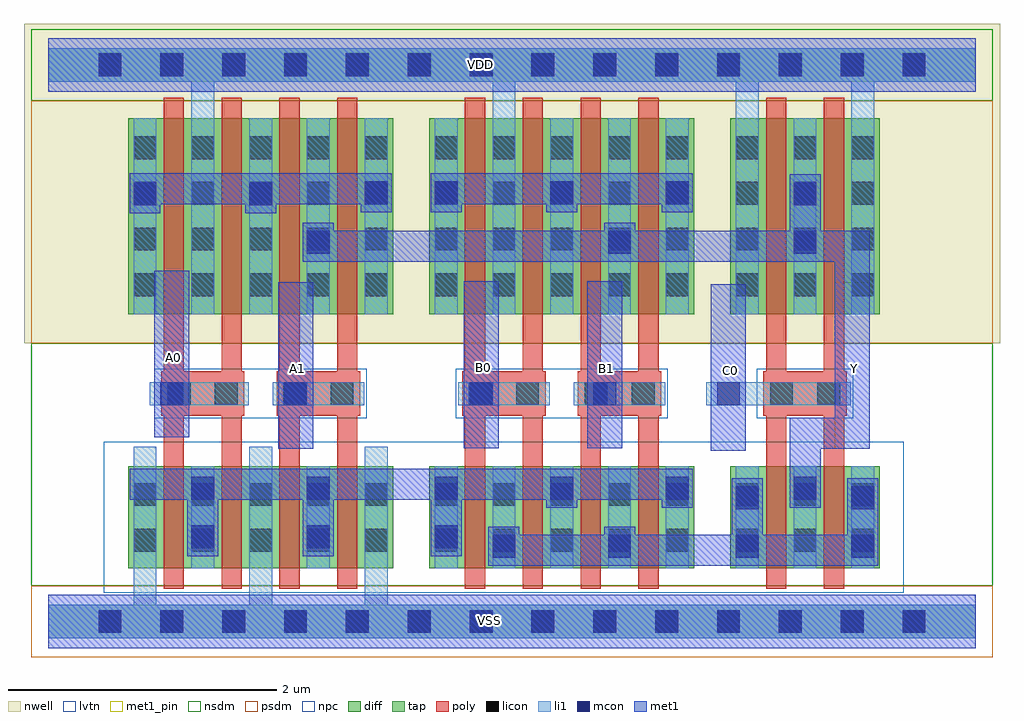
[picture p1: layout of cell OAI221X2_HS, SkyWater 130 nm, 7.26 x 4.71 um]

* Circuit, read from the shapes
.subckt OAI221X2_HS A0 A1 B0 B1 C0 VDD VSS Y
XM1 n1 A0 VSS VSS sky130_fd_pr__nfet_01v8_lvt w=0.76 l=0.15 m=2
XM2 n1 A1 VSS VSS sky130_fd_pr__nfet_01v8_lvt w=0.76 l=0.15 m=2
XM3 n2 B0 n1 VSS sky130_fd_pr__nfet_01v8_lvt w=0.76 l=0.15 m=2
XM4 n2 B1 n1 VSS sky130_fd_pr__nfet_01v8_lvt w=0.76 l=0.15 m=2
XM5 Y C0 n2 VSS sky130_fd_pr__nfet_01v8_lvt w=0.76 l=0.15 m=2
XM6 VDD A0 n3 VDD sky130_fd_pr__pfet_01v8 w=1.46 l=0.15 m=2
XM7 Y A1 n3 VDD sky130_fd_pr__pfet_01v8 w=1.46 l=0.15 m=2
XM8 VDD B0 n4 VDD sky130_fd_pr__pfet_01v8 w=1.46 l=0.15 m=2
XM9 Y B1 n4 VDD sky130_fd_pr__pfet_01v8 w=1.46 l=0.15 m=2
XM10 Y C0 VDD VDD sky130_fd_pr__pfet_01v8 w=1.46 l=0.15 m=2
.ends

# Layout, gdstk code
from math import pi, radians
import gdstk
lib = gdstk.Library(unit=1e-6, precision=1e-09)
def R(c, l, rs):  # rectangles x0, y0, x1, y1
    for r in rs: c.add(gdstk.rectangle(r[:2], r[2:], *l))
def A(c, l, x, y, w, h, nx, ny, dx, dy):  # array of equal rectangles
    R(c, l, [(x+i*dx, y+j*dy, x+i*dx+w, y+j*dy+h) for i in range(nx) for j in range(ny)])
def P(c, l, *ps):  # polygons
    for p in ps: c.add(gdstk.Polygon(p, *l))
nwell = (64, 20)
diff = (65, 20)
tap = (65, 44)
poly = (66, 20)
licon = (66, 44)
li1 = (67, 20)
mcon = (67, 44)
met1_pin = (68, 16)
met1 = (68, 20)
nsdm = (93, 44)
psdm = (94, 20)
npc = (95, 20)
lvtn = (125, 44)

l1m1_c_cdns_752016586812 = lib.new_cell('L1M1_C_CDNS_752016586812')
R(l1m1_c_cdns_752016586812, li1, [(-0.085,-0.165,0.085,0.165)])
R(l1m1_c_cdns_752016586812, mcon, [(-0.085,-0.085,0.085,0.085)])
R(l1m1_c_cdns_752016586812, met1, [(-0.115,-0.145,0.115,0.145)])

pyl1con_c_cdns_752016586 = lib.new_cell('PYL1CON_C_CDNS_752016586813')
R(pyl1con_c_cdns_752016586, poly, [(-0.135,-0.165,0.135,0.165)])
R(pyl1con_c_cdns_752016586, licon, [(-0.085,-0.085,0.085,0.085)])
R(pyl1con_c_cdns_752016586, npc, [(-0.185,-0.185,0.185,0.185)])

l1m1_c_cdns_752016586811 = lib.new_cell('L1M1_C_CDNS_752016586811')
R(l1m1_c_cdns_752016586811, li1, [(-0.165,-0.085,0.165,0.085)])
R(l1m1_c_cdns_752016586811, mcon, [(-0.085,-0.085,0.085,0.085)])
R(l1m1_c_cdns_752016586811, met1, [(-0.115,-0.145,0.115,0.145)])

l1m1_c_cdns_752016586816 = lib.new_cell('L1M1_C_CDNS_752016586816')
R(l1m1_c_cdns_752016586816, li1, [(-0.085,-0.345,0.085,0.345)])
R(l1m1_c_cdns_752016586816, mcon, [(-0.085,-0.265,0.085,-0.095), (-0.085,0.095,0.085,0.265)])
R(l1m1_c_cdns_752016586816, met1, [(-0.115,-0.325,0.115,0.325)])

oai221x2_hs = lib.new_cell('OAI221X2_HS')
R(oai221x2_hs, nwell, [(-0.18,2.07,7.08,4.445)])
R(oai221x2_hs, diff, [(0.595,0.395,2.565,1.155), (2.835,0.395,4.805,1.155), (5.075,0.395,6.185,1.155), (0.595,2.285,2.565,3.745), (2.835,2.285,4.805,3.745), (5.075,2.285,6.185,3.745)])
P(oai221x2_hs, poly, [(1.46,1.86),(1.44,1.86),(1.44,3.895),(1.29,3.895),(1.29,1.86),(1.01,1.86),(1.01,3.895),(0.86,3.895),(0.86,1.86),(0.84,1.86),(0.84,1.53),(0.86,1.53),(0.86,0.245),(1.01,0.245),(1.01,1.53),(1.29,1.53),(1.29,0.245),(1.44,0.245),(1.44,1.53),(1.46,1.53)],
  [(2.32,1.86),(2.3,1.86),(2.3,3.895),(2.15,3.895),(2.15,1.86),(1.87,1.86),(1.87,3.895),(1.72,3.895),(1.72,1.86),(1.7,1.86),(1.7,1.53),(1.72,1.53),(1.72,0.245),(1.87,0.245),(1.87,1.53),(2.15,1.53),(2.15,0.245),(2.3,0.245),(2.3,1.53),(2.32,1.53)],
  [(3.7,1.86),(3.68,1.86),(3.68,3.895),(3.53,3.895),(3.53,1.86),(3.25,1.86),(3.25,3.895),(3.1,3.895),(3.1,1.86),(3.08,1.86),(3.08,1.53),(3.1,1.53),(3.1,0.245),(3.25,0.245),(3.25,1.53),(3.53,1.53),(3.53,0.245),(3.68,0.245),(3.68,1.53),(3.7,1.53)],
  [(4.56,1.86),(4.54,1.86),(4.54,3.895),(4.39,3.895),(4.39,1.86),(4.11,1.86),(4.11,3.895),(3.96,3.895),(3.96,1.86),(3.94,1.86),(3.94,1.53),(3.96,1.53),(3.96,0.245),(4.11,0.245),(4.11,1.53),(4.39,1.53),(4.39,0.245),(4.54,0.245),(4.54,1.53),(4.56,1.53)],
  [(5.94,1.86),(5.92,1.86),(5.92,3.895),(5.77,3.895),(5.77,1.86),(5.49,1.86),(5.49,3.895),(5.34,3.895),(5.34,1.86),(5.32,1.86),(5.32,1.53),(5.34,1.53),(5.34,0.245),(5.49,0.245),(5.49,1.53),(5.77,1.53),(5.77,0.245),(5.92,0.245),(5.92,1.53),(5.94,1.53)])
A(oai221x2_hs, licon, 0.375, -0.085, 0.17, 0.17, 14, 2, 0.46, 4.14)
A(oai221x2_hs, licon, 0.635, 0.52, 0.17, 0.17, 5, 2, 0.43, 0.34)
A(oai221x2_hs, licon, 2.875, 0.52, 0.17, 0.17, 5, 2, 0.43, 0.34)
A(oai221x2_hs, licon, 5.115, 0.52, 0.17, 0.17, 3, 2, 0.43, 0.34)
A(oai221x2_hs, licon, 0.635, 2.42, 0.17, 0.17, 5, 4, 0.43, 0.34)
A(oai221x2_hs, licon, 2.875, 2.42, 0.17, 0.17, 5, 4, 0.43, 0.34)
A(oai221x2_hs, licon, 5.115, 2.42, 0.17, 0.17, 3, 4, 0.43, 0.34)
A(oai221x2_hs, li1, 2.875, 0.395, 0.17, 0.76, 5, 1, 0.43, 0)
A(oai221x2_hs, li1, 5.115, 0.395, 0.17, 0.76, 3, 1, 0.43, 0)
A(oai221x2_hs, li1, 1.495, 2.285, 0.17, 1.46, 3, 1, 0.43, 0)
A(oai221x2_hs, li1, 3.735, 2.285, 0.17, 1.46, 3, 1, 0.43, 0)
R(oai221x2_hs, li1, [(1.065,0.395,1.235,1.155), (1.925,0.395,2.095,1.155), (0.635,2.285,0.805,3.745), (2.875,2.285,3.045,3.745), (5.545,2.285,5.715,3.745)])
P(oai221x2_hs, li1, [(6.9,4.265),(0,4.265),(0,4.015),(1.065,4.015),(1.065,2.285),(1.235,2.285),(1.235,4.015),(3.305,4.015),(3.305,2.285),(3.475,2.285),(3.475,4.015),(5.115,4.015),(5.115,2.285),(5.285,2.285),(5.285,4.015),(5.975,4.015),(5.975,2.285),(6.145,2.285),(6.145,4.015),(6.9,4.015)],
  [(6.9,0.125),(2.525,0.125),(2.525,1.3),(2.355,1.3),(2.355,0.125),(1.665,0.125),(1.665,1.3),(1.495,1.3),(1.495,0.125),(0.805,0.125),(0.805,1.3),(0.635,1.3),(0.635,0.125),(0,0.125),(0,-0.125),(6.9,-0.125)])
A(oai221x2_hs, mcon, 0.375, -0.085, 0.17, 0.17, 14, 2, 0.46, 4.14)
R(oai221x2_hs, met1_pin, [(4.93,1.27,5.19,2.51), (1.71,1.285,1.97,2.525), (5.85,1.285,6.11,2.525), (3.09,1.29,3.35,2.53), (4.01,1.29,4.27,2.53), (0.79,1.37,1.05,2.61)])
P(oai221x2_hs, met1, [(6.11,2.905),(5.745,2.905),(5.745,3),(5.515,3),(5.515,2.905),(1.895,2.905),(1.895,2.675),(5.85,2.675),(5.85,1.515),(5.515,1.515),(5.515,0.97),(5.745,0.97),(5.745,1.285),(6.11,1.285)])
R(oai221x2_hs, nsdm, [(-0.125,0.265,7.025,2.07), (-0.125,3.875,7.025,4.405)])
R(oai221x2_hs, psdm, [(-0.125,-0.265,7.025,0.265), (-0.125,2.07,7.025,3.875)])
R(oai221x2_hs, npc, [(0.79,1.51,2.37,1.88), (3.03,1.51,4.61,1.88)])
R(oai221x2_hs, lvtn, [(0.415,0.215,6.365,1.335)])
oai221x2_hs.add(gdstk.FlexPath([(3.91,1.695),(4.59,1.695)], 0.17, ends="flush", simple_path=True, layer=67, datatype=20))  # li1
oai221x2_hs.add(gdstk.FlexPath([(1.67,1.695),(2.35,1.695)], 0.17, ends="flush", simple_path=True, layer=67, datatype=20))  # li1
oai221x2_hs.add(gdstk.FlexPath([(0.81,1.695),(1.49,1.695)], 0.17, ends="flush", simple_path=True, layer=67, datatype=20))  # li1
oai221x2_hs.add(gdstk.FlexPath([(5.035,1.695),(5.97,1.695)], 0.17, ends="flush", simple_path=True, layer=67, datatype=20))  # li1
oai221x2_hs.add(gdstk.FlexPath([(3.05,1.695),(3.73,1.695)], 0.17, ends="flush", simple_path=True, layer=67, datatype=20))  # li1
oai221x2_hs.add(gdstk.FlexPath([(0,4.14),(6.9,4.14)], 0.4, ends="flush", simple_path=True, layer=68, datatype=20))  # met1
oai221x2_hs.add(gdstk.FlexPath([(0,0),(6.9,0)], 0.4, ends="flush", simple_path=True, layer=68, datatype=20))  # met1
oai221x2_hs.add(gdstk.FlexPath([(1.84,1.285),(1.84,2.525)], 0.26, ends="flush", simple_path=True, layer=68, datatype=20))  # met1
oai221x2_hs.add(gdstk.FlexPath([(3.22,1.29),(3.22,2.53)], 0.26, ends="flush", simple_path=True, layer=68, datatype=20))  # met1
oai221x2_hs.add(gdstk.FlexPath([(4.14,1.29),(4.14,2.53)], 0.26, ends="flush", simple_path=True, layer=68, datatype=20))  # met1
oai221x2_hs.add(gdstk.FlexPath([(5.06,1.27),(5.06,2.51)], 0.26, ends="flush", simple_path=True, layer=68, datatype=20))  # met1
oai221x2_hs.add(gdstk.FlexPath([(0.92,1.37),(0.92,2.61)], 0.26, ends="flush", simple_path=True, layer=68, datatype=20))  # met1
oai221x2_hs.add(gdstk.FlexPath([(0.605,1.02),(4.795,1.02)], 0.23, ends="flush", simple_path=True, layer=68, datatype=20))  # met1
oai221x2_hs.add(gdstk.FlexPath([(0.605,3.22),(2.555,3.22)], 0.23, ends="flush", simple_path=True, layer=68, datatype=20))  # met1
oai221x2_hs.add(gdstk.FlexPath([(6.175,0.53),(3.275,0.53)], 0.23, ends="flush", simple_path=True, layer=68, datatype=20))  # met1
oai221x2_hs.add(gdstk.FlexPath([(2.845,3.22),(4.795,3.22)], 0.23, ends="flush", simple_path=True, layer=68, datatype=20))  # met1
oai221x2_hs.add(gdstk.FlexPath([(0,4.14),(6.9,4.14)], 0.25, ends="flush", simple_path=True, layer=65, datatype=44))  # tap
oai221x2_hs.add(gdstk.FlexPath([(0,0),(6.9,0)], 0.25, ends="flush", simple_path=True, layer=65, datatype=44))  # tap
oai221x2_hs.add(gdstk.FlexPath([(0,4.14),(6.9,4.14)], 0.4, ends="flush", simple_path=True, layer=68, datatype=16))  # met1_pin
oai221x2_hs.add(gdstk.FlexPath([(0,0),(6.9,0)], 0.4, ends="flush", simple_path=True, layer=68, datatype=16))  # met1_pin
oai221x2_hs.add(gdstk.Reference(l1m1_c_cdns_752016586812, (4.25,2.82)))
oai221x2_hs.add(gdstk.Reference(l1m1_c_cdns_752016586812, (1.58,3.18)))
oai221x2_hs.add(gdstk.Reference(l1m1_c_cdns_752016586812, (0.72,3.18)))
oai221x2_hs.add(gdstk.Reference(l1m1_c_cdns_752016586812, (4.68,3.19)))
oai221x2_hs.add(gdstk.Reference(l1m1_c_cdns_752016586812, (3.82,3.19)))
oai221x2_hs.add(gdstk.Reference(l1m1_c_cdns_752016586812, (2.96,3.19)))
oai221x2_hs.add(gdstk.Reference(l1m1_c_cdns_752016586812, (2.44,3.19)))
oai221x2_hs.add(gdstk.Reference(l1m1_c_cdns_752016586812, (4.68,0.99)))
oai221x2_hs.add(gdstk.Reference(l1m1_c_cdns_752016586812, (3.82,0.99)))
oai221x2_hs.add(gdstk.Reference(l1m1_c_cdns_752016586812, (3.39,0.56)))
oai221x2_hs.add(gdstk.Reference(l1m1_c_cdns_752016586812, (4.25,0.56)))
oai221x2_hs.add(gdstk.Reference(l1m1_c_cdns_752016586812, (2.01,2.82)))
oai221x2_hs.add(gdstk.Reference(l1m1_c_cdns_752016586812, (5.63,0.99)))
oai221x2_hs.add(gdstk.Reference(pyl1con_c_cdns_752016586, (1.835,1.695), rotation=pi, x_reflection=True))
oai221x2_hs.add(gdstk.Reference(pyl1con_c_cdns_752016586, (2.185,1.695), rotation=pi, x_reflection=True))
oai221x2_hs.add(gdstk.Reference(pyl1con_c_cdns_752016586, (5.455,1.695), rotation=pi, x_reflection=True))
oai221x2_hs.add(gdstk.Reference(pyl1con_c_cdns_752016586, (3.565,1.695), rotation=pi, x_reflection=True))
oai221x2_hs.add(gdstk.Reference(pyl1con_c_cdns_752016586, (5.805,1.695), rotation=pi, x_reflection=True))
oai221x2_hs.add(gdstk.Reference(pyl1con_c_cdns_752016586, (0.975,1.695), rotation=pi, x_reflection=True))
oai221x2_hs.add(gdstk.Reference(pyl1con_c_cdns_752016586, (4.425,1.695), rotation=pi, x_reflection=True))
oai221x2_hs.add(gdstk.Reference(pyl1con_c_cdns_752016586, (4.075,1.695), rotation=pi, x_reflection=True))
oai221x2_hs.add(gdstk.Reference(pyl1con_c_cdns_752016586, (1.325,1.695), rotation=pi, x_reflection=True))
oai221x2_hs.add(gdstk.Reference(pyl1con_c_cdns_752016586, (3.215,1.695), rotation=pi, x_reflection=True))
oai221x2_hs.add(gdstk.Reference(l1m1_c_cdns_752016586811, (3.22,1.695), x_reflection=True))
oai221x2_hs.add(gdstk.Reference(l1m1_c_cdns_752016586811, (0.92,1.695), x_reflection=True))
oai221x2_hs.add(gdstk.Reference(l1m1_c_cdns_752016586811, (1.84,1.695), x_reflection=True))
oai221x2_hs.add(gdstk.Reference(l1m1_c_cdns_752016586811, (4.14,1.695), x_reflection=True))
oai221x2_hs.add(gdstk.Reference(l1m1_c_cdns_752016586811, (5.06,1.695), x_reflection=True))
oai221x2_hs.add(gdstk.Reference(l1m1_c_cdns_752016586816, (5.63,3)))
oai221x2_hs.add(gdstk.Reference(l1m1_c_cdns_752016586816, (1.15,0.81)))
oai221x2_hs.add(gdstk.Reference(l1m1_c_cdns_752016586816, (2.01,0.81)))
oai221x2_hs.add(gdstk.Reference(l1m1_c_cdns_752016586816, (2.96,0.81)))
oai221x2_hs.add(gdstk.Reference(l1m1_c_cdns_752016586816, (5.2,0.74)))
oai221x2_hs.add(gdstk.Reference(l1m1_c_cdns_752016586816, (6.06,0.74)))
oai221x2_hs.add(gdstk.Label('VDD', (3.215,4.145), layer=68, texttype=5))
oai221x2_hs.add(gdstk.Label('Y', (5.995,1.88), layer=68, texttype=5))
oai221x2_hs.add(gdstk.Label('C0', (5.075,1.865), layer=68, texttype=5))
oai221x2_hs.add(gdstk.Label('B1', (4.155,1.885), layer=68, texttype=5))
oai221x2_hs.add(gdstk.Label('B0', (3.235,1.89), layer=68, texttype=5))
oai221x2_hs.add(gdstk.Label('A1', (1.855,1.88), layer=68, texttype=5))
oai221x2_hs.add(gdstk.Label('A0', (0.935,1.965), layer=68, texttype=5))
oai221x2_hs.add(gdstk.Label('VSS', (3.285,0.005), layer=68, texttype=5))

lib.write_gds('OAI221X2_HS.gds')
